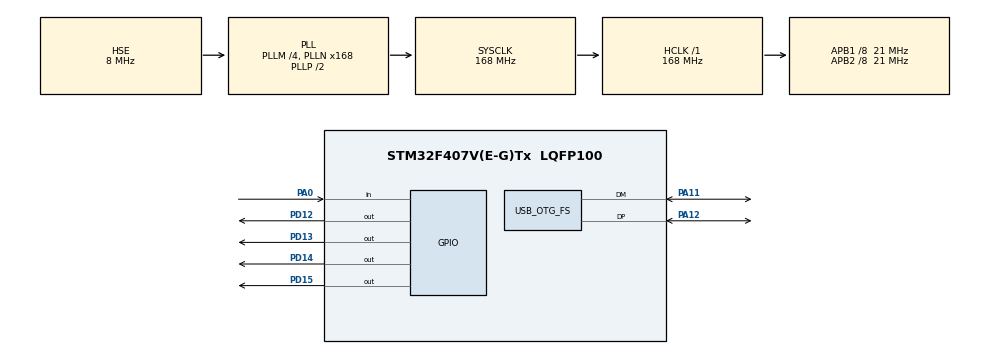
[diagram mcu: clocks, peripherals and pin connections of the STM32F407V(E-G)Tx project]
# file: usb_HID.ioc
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Mcu.Family=STM32F4
Mcu.Name=STM32F407V(E-G)Tx
Mcu.Package=LQFP100
NVIC.OTG_FS_IRQn=true\:0\:0\:false\:false\:true\:false\:true
NVIC.PriorityGroup=NVIC_PRIORITYGROUP_4
PA0-WKUP.GPIO_PuPd=GPIO_PULLDOWN
PA0-WKUP.Signal=GPIO_Input
PA11.Mode=Device_Only
PA11.Signal=USB_OTG_FS_DM
PA12.Mode=Device_Only
PA12.Signal=USB_OTG_FS_DP
PD12.Signal=GPIO_Output
PD13.Signal=GPIO_Output
PD14.Signal=GPIO_Output
PD15.Signal=GPIO_Output
PH0-OSC_IN.Mode=HSE-External-Oscillator
PH0-OSC_IN.Signal=RCC_OSC_IN
PH1-OSC_OUT.Mode=HSE-External-Oscillator
PH1-OSC_OUT.Signal=RCC_OSC_OUT
ProjectManager.HeapSize=0x200
ProjectManager.StackSize=0x400
ProjectManager.TargetToolchain=STM32CubeIDE
RCC.48MHZClocksFreq_Value=48000000
RCC.AHBFreq_Value=168000000
RCC.APB1CLKDivider=RCC_HCLK_DIV8
RCC.APB1Freq_Value=21000000
RCC.APB1TimFreq_Value=42000000
RCC.APB2CLKDivider=RCC_HCLK_DIV8
RCC.APB2Freq_Value=21000000
RCC.APB2TimFreq_Value=42000000
RCC.CortexFreq_Value=168000000
RCC.HCLKFreq_Value=168000000
RCC.HSE_VALUE=8000000
RCC.HSI_VALUE=16000000
RCC.LSE_VALUE=32768
RCC.PLLM=4
RCC.PLLN=168
RCC.PLLQ=7
RCC.SYSCLKFreq_VALUE=168000000
RCC.SYSCLKSource=RCC_SYSCLKSOURCE_PLLCLK
RCC.VCOOutputFreq_Value=336000000
USB_DEVICE.CLASS_NAME_FS=CUSTOM_HID
USB_DEVICE.VirtualMode-CUSTOM_HID_FS=CustomHid
USB_DEVICE.VirtualModeFS=Custom_Hid_FS
USB_OTG_FS.VirtualMode=Device_Only
VP_USB_DEVICE_VS_USB_DEVICE_CUSTOM_HID_FS.Mode=CUSTOM_HID_FS
board=custom

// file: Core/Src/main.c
/* USER CODE BEGIN Header */
/**
  ******************************************************************************
  * @file           : main.c
  * @brief          : Main program body
  ******************************************************************************
  * @attention
  *
  * <h2><center>&copy; Copyright (c) 2020 STMicroelectronics.
  * All rights reserved.</center></h2>
  *
  * This software component is licensed by ST under BSD 3-Clause license,
  * the "License"; You may not use this file except in compliance with the
  * License. You may obtain a copy of the License at:
  *                        opensource.org/licenses/BSD-3-Clause
  *
  ******************************************************************************
  */
/*в файле usbd_customhid.h увеличить значение параметра CUSTOM_HID_EPOUT_SIZE до 0x40U
 * в файле usbd_custom_hid_if.c добавить дескриптор репорта;  в файле usbd_conf.h изменить размер массива дескриптора USBD_CUSTOM_HID_REPORT_DESC_SIZE
 * на количество элементов массива репорта, и USBD_CUSTOMHID_OUTREPORT_BUF_SIZE на 2;
 * в файле usbd_custom_hid_if.h устанавливаем значения, соответствующие режиму передачи (CUSTOM_HID_EPIN_SIZE) и приема (CUSTOM_HID_EPOUT_SIZE) - 4 байта)
 * */
/* USER CODE END Header */

#include "main.h"
#include "usb_device.h"

/* USER CODE BEGIN Includes */
#include "usbd_hid.h"
/* USER CODE END Includes */

/* USER CODE BEGIN PD */
#define CURSOR_STEP 2
/* USER CODE END PD */

/* USER CODE BEGIN PV */
extern USBD_HandleTypeDef hUsbDeviceFS;
uint8_t mouse_buffer [4];
/* USER CODE END PV */

void SystemClock_Config(void);
static void MX_GPIO_Init(void);

/* USER CODE BEGIN 0 */
static void GetPointerData (uint8_t *mbuffer, int8_t x, int8_t y)
{
	uint8_t button = 0;
	if(HAL_GPIO_ReadPin(GPIOA,GPIO_PIN_0)==GPIO_PIN_SET)
		button = 2; //1 или 0х1-однократное нажатие левой клавиши мыши, 2 или 0х2 - однократное нажатие правой клавиши
	else
		button = 0;
	mouse_buffer [0] = button; //состояние кнопки
	mouse_buffer [1] = x; //состояние курсора по оси Х
	mouse_buffer [2] = y; //состояние курсора по оси Y
	mouse_buffer [3] = 0; //состояния колеса мыши
}
/* USER CODE END 0 */

int main(void)
{
  /* USER CODE BEGIN 1 */
	int8_t kord_x = 0, kord_y = 0;
	uint8_t cnt = 0; //счётчик циклов
	uint8_t kursor = 0; //направление курсора
  /* USER CODE END 1 */

  /* MCU Configuration--------------------------------------------------------*/

  /* Reset of all peripherals, Initializes the Flash interface and the Systick. */
  HAL_Init();

  /* Configure the system clock */
  SystemClock_Config();

  /* Initialize all configured peripherals */
  MX_GPIO_Init();
  MX_USB_DEVICE_Init();

  /* Infinite loop */
  while (1)
  {

    /* USER CODE BEGIN 3 */
	  HAL_Delay (100);
	  if ((cnt < 10) && (kursor == 0))
	  	{
		  kord_x = CURSOR_STEP;
		  kord_y = CURSOR_STEP;
		  cnt++;
	  	}
	  	else
	  		if (cnt > 0)
	  		{
	  			kursor = 1;
	  			kord_x = -CURSOR_STEP;
	  			kord_y = -CURSOR_STEP;
	  			cnt--;
	  		}
	  		else
	  			kursor = 0;
	  GetPointerData (mouse_buffer, kord_x, kord_y);
	  USBD_HID_SendReport (&hUsbDeviceFS, mouse_buffer, 4);
  }
  /* USER CODE END 3 */
}

void SystemClock_Config(void)
{
  RCC_OscInitTypeDef RCC_OscInitStruct = {0};
  RCC_ClkInitTypeDef RCC_ClkInitStruct = {0};

  /** Configure the main internal regulator output voltage
  */
  __HAL_RCC_PWR_CLK_ENABLE();
  __HAL_PWR_VOLTAGESCALING_CONFIG(PWR_REGULATOR_VOLTAGE_SCALE1);
  /** Initializes the CPU, AHB and APB busses clocks
  */
  RCC_OscInitStruct.OscillatorType = RCC_OSCILLATORTYPE_HSE;
  RCC_OscInitStruct.HSEState = RCC_HSE_ON;
  RCC_OscInitStruct.PLL.PLLState = RCC_PLL_ON;
  RCC_OscInitStruct.PLL.PLLSource = RCC_PLLSOURCE_HSE;
  RCC_OscInitStruct.PLL.PLLM = 4;
  RCC_OscInitStruct.PLL.PLLN = 168;
  RCC_OscInitStruct.PLL.PLLP = RCC_PLLP_DIV2;
  RCC_OscInitStruct.PLL.PLLQ = 7;
  if (HAL_RCC_OscConfig(&RCC_OscInitStruct) != HAL_OK)
  {
    Error_Handler();
  }
  /** Initializes the CPU, AHB and APB busses clocks
  */
  RCC_ClkInitStruct.ClockType = RCC_CLOCKTYPE_HCLK|RCC_CLOCKTYPE_SYSCLK
                              |RCC_CLOCKTYPE_PCLK1|RCC_CLOCKTYPE_PCLK2;
  RCC_ClkInitStruct.SYSCLKSource = RCC_SYSCLKSOURCE_PLLCLK;
  RCC_ClkInitStruct.AHBCLKDivider = RCC_SYSCLK_DIV1;
  RCC_ClkInitStruct.APB1CLKDivider = RCC_HCLK_DIV8;
  RCC_ClkInitStruct.APB2CLKDivider = RCC_HCLK_DIV8;

  if (HAL_RCC_ClockConfig(&RCC_ClkInitStruct, FLASH_LATENCY_5) != HAL_OK)
  {
    Error_Handler();
  }
}

static void MX_GPIO_Init(void)
{
  GPIO_InitTypeDef GPIO_InitStruct = {0};

  /* GPIO Ports Clock Enable */
  __HAL_RCC_GPIOH_CLK_ENABLE();
  __HAL_RCC_GPIOA_CLK_ENABLE();
  __HAL_RCC_GPIOD_CLK_ENABLE();

  /*Configure GPIO pin Output Level */
  HAL_GPIO_WritePin(GPIOD, GPIO_PIN_12|GPIO_PIN_13|GPIO_PIN_14|GPIO_PIN_15, GPIO_PIN_RESET);

  /*Configure GPIO pin : PA0 */
  GPIO_InitStruct.Pin = GPIO_PIN_0;
  GPIO_InitStruct.Mode = GPIO_MODE_INPUT;
  GPIO_InitStruct.Pull = GPIO_PULLDOWN;
  HAL_GPIO_Init(GPIOA, &GPIO_InitStruct);

  /*Configure GPIO pins : PD12 PD13 PD14 PD15 */
  GPIO_InitStruct.Pin = GPIO_PIN_12|GPIO_PIN_13|GPIO_PIN_14|GPIO_PIN_15;
  GPIO_InitStruct.Mode = GPIO_MODE_OUTPUT_PP;
  GPIO_InitStruct.Pull = GPIO_NOPULL;
  GPIO_InitStruct.Speed = GPIO_SPEED_FREQ_LOW;
  HAL_GPIO_Init(GPIOD, &GPIO_InitStruct);

}

void Error_Handler(void)
{
}

/************************ (C) COPYRIGHT STMicroelectronics *****END OF FILE****/
